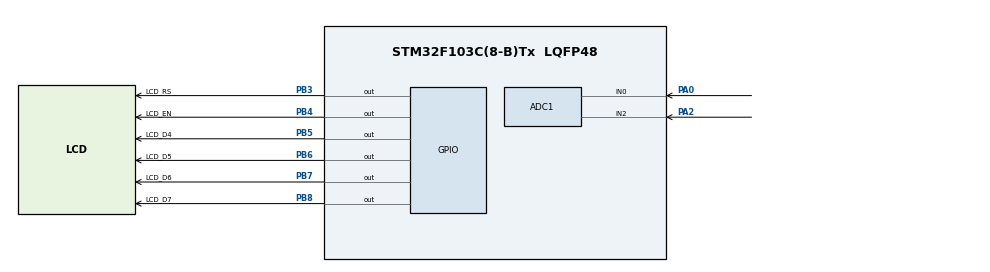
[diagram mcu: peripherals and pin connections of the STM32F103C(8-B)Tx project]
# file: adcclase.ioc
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ADC1.Channel-0\#ChannelRegularConversion=ADC_CHANNEL_0
ADC1.Channel-1\#ChannelRegularConversion=ADC_CHANNEL_2
ADC1.NbrOfConversion=2
ADC1.NbrOfConversionFlag=1
ADC1.Rank-0\#ChannelRegularConversion=1
ADC1.Rank-1\#ChannelRegularConversion=2
ADC1.SamplingTime-0\#ChannelRegularConversion=ADC_SAMPLETIME_1CYCLE_5
ADC1.SamplingTime-1\#ChannelRegularConversion=ADC_SAMPLETIME_1CYCLE_5
ADC1.master=1
Dma.ADC1.0.Direction=DMA_PERIPH_TO_MEMORY
Dma.ADC1.0.Instance=DMA1_Channel1
Dma.ADC1.0.MemDataAlignment=DMA_MDATAALIGN_HALFWORD
Dma.ADC1.0.MemInc=DMA_MINC_ENABLE
Dma.ADC1.0.Mode=DMA_CIRCULAR
Dma.ADC1.0.PeriphDataAlignment=DMA_PDATAALIGN_HALFWORD
Dma.ADC1.0.PeriphInc=DMA_PINC_DISABLE
Dma.ADC1.0.Priority=DMA_PRIORITY_LOW
Dma.Request0=ADC1
Mcu.Family=STM32F1
Mcu.Name=STM32F103C(8-B)Tx
Mcu.Package=LQFP48
NVIC.DMA1_Channel1_IRQn=true\:0\:0\:false\:false\:true\:false\:true\:true
NVIC.PriorityGroup=NVIC_PRIORITYGROUP_4
PA0-WKUP.Signal=ADCx_IN0
PA2.Signal=ADCx_IN2
PB3.GPIO_Label=LCD_RS
PB3.Signal=GPIO_Output
PB4.GPIO_Label=LCD_EN
PB4.Signal=GPIO_Output
PB5.GPIO_Label=LCD_D4
PB5.Signal=GPIO_Output
PB6.GPIO_Label=LCD_D5
PB6.Signal=GPIO_Output
PB7.GPIO_Label=LCD_D6
PB7.Signal=GPIO_Output
PB8.GPIO_Label=LCD_D7
PB8.Signal=GPIO_Output
ProjectManager.HeapSize=0x200
ProjectManager.StackSize=0x400
ProjectManager.TargetToolchain=STM32CubeIDE
RCC.APB1Freq_Value=8000000
RCC.APB2Freq_Value=8000000
SH.ADCx_IN0.0=ADC1_IN0,IN0
SH.ADCx_IN2.0=ADC1_IN2,IN2
VP_SYS_VS_ND.Mode=No_Debug
board=custom

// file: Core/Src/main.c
/* USER CODE BEGIN Header */
/**
  ******************************************************************************
  * @file           : main.c
  * @brief          : Main program body
  ******************************************************************************
  * @attention
  *
  * Copyright (c) 2024 STMicroelectronics.
  * All rights reserved.
  *
  * This software is licensed under terms that can be found in the LICENSE file
  * in the root directory of this software component.
  * If no LICENSE file comes with this software, it is provided AS-IS.
  *
  ******************************************************************************
  */
/* USER CODE END Header */
#include "main.h"

/* USER CODE BEGIN Includes */
#include "lcd.h"
/* USER CODE END Includes */

ADC_HandleTypeDef hadc1;
DMA_HandleTypeDef hdma_adc1;

/* USER CODE BEGIN PV */
uint16_t ADC_BUFF[6];
uint16_t codigo;
float  voltaje,temperatura,luz;
char texto[50];
/* USER CODE END PV */

void SystemClock_Config(void);
static void MX_GPIO_Init(void);
static void MX_DMA_Init(void);
static void MX_ADC1_Init(void);

int main(void)
{

  /* MCU Configuration--------------------------------------------------------*/

  /* Reset of all peripherals, Initializes the Flash interface and the Systick. */
  HAL_Init();

  /* Configure the system clock */
  SystemClock_Config();

  /* Initialize all configured peripherals */
  MX_GPIO_Init();
  MX_DMA_Init();
  MX_ADC1_Init();
  /* USER CODE BEGIN 2 */
   Lcd_Init();
   Lcd_Cmd(_LCD_CLEAR);
   Lcd_Cmd(_LCD_CURSOR_OFF);
   Lcd_Text(1, 6, "ADC");
  /* USER CODE END 2 */

  /* Infinite loop */
  /* USER CODE BEGIN WHILE */
  while (1)
  {
	HAL_ADC_Start_DMA(&hadc1, ADC_BUFF, 2);
   codigo=ADC_BUFF[0];
   voltaje=codigo*3.3/4095.0;
   luz=-38.314*voltaje + 124.9;
 //  voltaje=voltaje*(3300+10000)/3300;//BAT

   //sprintf(texto,"BAT=%.2f",voltaje);
   sprintf(texto,"lumen=%.1f",luz);

   Lcd_Text(1, 4, texto);

   codigo=ADC_BUFF[1];
   temperatura=codigo*3.3*100/4095.0;

   sprintf(texto,"temp=%.1f",temperatura);
   Lcd_Text(3, 4, texto);

   HAL_Delay(200);
    /* USER CODE END WHILE */

  }
}

void SystemClock_Config(void)
{
  RCC_OscInitTypeDef RCC_OscInitStruct = {0};
  RCC_ClkInitTypeDef RCC_ClkInitStruct = {0};
  RCC_PeriphCLKInitTypeDef PeriphClkInit = {0};

  /** Initializes the RCC Oscillators according to the specified parameters
  * in the RCC_OscInitTypeDef structure.
  */
  RCC_OscInitStruct.OscillatorType = RCC_OSCILLATORTYPE_HSI;
  RCC_OscInitStruct.HSIState = RCC_HSI_ON;
  RCC_OscInitStruct.HSICalibrationValue = RCC_HSICALIBRATION_DEFAULT;
  RCC_OscInitStruct.PLL.PLLState = RCC_PLL_NONE;
  if (HAL_RCC_OscConfig(&RCC_OscInitStruct) != HAL_OK)
  {
    Error_Handler();
  }

  /** Initializes the CPU, AHB and APB buses clocks
  */
  RCC_ClkInitStruct.ClockType = RCC_CLOCKTYPE_HCLK|RCC_CLOCKTYPE_SYSCLK
                              |RCC_CLOCKTYPE_PCLK1|RCC_CLOCKTYPE_PCLK2;
  RCC_ClkInitStruct.SYSCLKSource = RCC_SYSCLKSOURCE_HSI;
  RCC_ClkInitStruct.AHBCLKDivider = RCC_SYSCLK_DIV1;
  RCC_ClkInitStruct.APB1CLKDivider = RCC_HCLK_DIV1;
  RCC_ClkInitStruct.APB2CLKDivider = RCC_HCLK_DIV1;

  if (HAL_RCC_ClockConfig(&RCC_ClkInitStruct, FLASH_LATENCY_0) != HAL_OK)
  {
    Error_Handler();
  }
  PeriphClkInit.PeriphClockSelection = RCC_PERIPHCLK_ADC;
  PeriphClkInit.AdcClockSelection = RCC_ADCPCLK2_DIV2;
  if (HAL_RCCEx_PeriphCLKConfig(&PeriphClkInit) != HAL_OK)
  {
    Error_Handler();
  }
}

static void MX_ADC1_Init(void)
{

  ADC_ChannelConfTypeDef sConfig = {0};

  /** Common config
  */
  hadc1.Instance = ADC1;
  hadc1.Init.ScanConvMode = ADC_SCAN_ENABLE;
  hadc1.Init.ContinuousConvMode = DISABLE;
  hadc1.Init.DiscontinuousConvMode = DISABLE;
  hadc1.Init.ExternalTrigConv = ADC_SOFTWARE_START;
  hadc1.Init.DataAlign = ADC_DATAALIGN_RIGHT;
  hadc1.Init.NbrOfConversion = 2;
  if (HAL_ADC_Init(&hadc1) != HAL_OK)
  {
    Error_Handler();
  }

  /** Configure Regular Channel
  */
  sConfig.Channel = ADC_CHANNEL_0;
  sConfig.Rank = ADC_REGULAR_RANK_1;
  sConfig.SamplingTime = ADC_SAMPLETIME_1CYCLE_5;
  if (HAL_ADC_ConfigChannel(&hadc1, &sConfig) != HAL_OK)
  {
    Error_Handler();
  }

  /** Configure Regular Channel
  */
  sConfig.Channel = ADC_CHANNEL_2;
  sConfig.Rank = ADC_REGULAR_RANK_2;
  if (HAL_ADC_ConfigChannel(&hadc1, &sConfig) != HAL_OK)
  {
    Error_Handler();
  }

}

static void MX_DMA_Init(void)
{

  /* DMA controller clock enable */
  __HAL_RCC_DMA1_CLK_ENABLE();

  /* DMA interrupt init */
  /* DMA1_Channel1_IRQn interrupt configuration */
  HAL_NVIC_SetPriority(DMA1_Channel1_IRQn, 0, 0);
  HAL_NVIC_EnableIRQ(DMA1_Channel1_IRQn);

}

static void MX_GPIO_Init(void)
{
  GPIO_InitTypeDef GPIO_InitStruct = {0};

  /* GPIO Ports Clock Enable */
  __HAL_RCC_GPIOA_CLK_ENABLE();
  __HAL_RCC_GPIOB_CLK_ENABLE();

  /*Configure GPIO pin Output Level */
  HAL_GPIO_WritePin(GPIOB, LCD_RS_Pin|LCD_EN_Pin|LCD_D4_Pin|LCD_D5_Pin
                          |LCD_D6_Pin|LCD_D7_Pin, GPIO_PIN_RESET);

  /*Configure GPIO pins : LCD_RS_Pin LCD_EN_Pin LCD_D4_Pin LCD_D5_Pin
                           LCD_D6_Pin LCD_D7_Pin */
  GPIO_InitStruct.Pin = LCD_RS_Pin|LCD_EN_Pin|LCD_D4_Pin|LCD_D5_Pin
                          |LCD_D6_Pin|LCD_D7_Pin;
  GPIO_InitStruct.Mode = GPIO_MODE_OUTPUT_PP;
  GPIO_InitStruct.Pull = GPIO_NOPULL;
  GPIO_InitStruct.Speed = GPIO_SPEED_FREQ_LOW;
  HAL_GPIO_Init(GPIOB, &GPIO_InitStruct);

}

void Error_Handler(void)
{
  __disable_irq();
  while (1)
  {
  }
}
